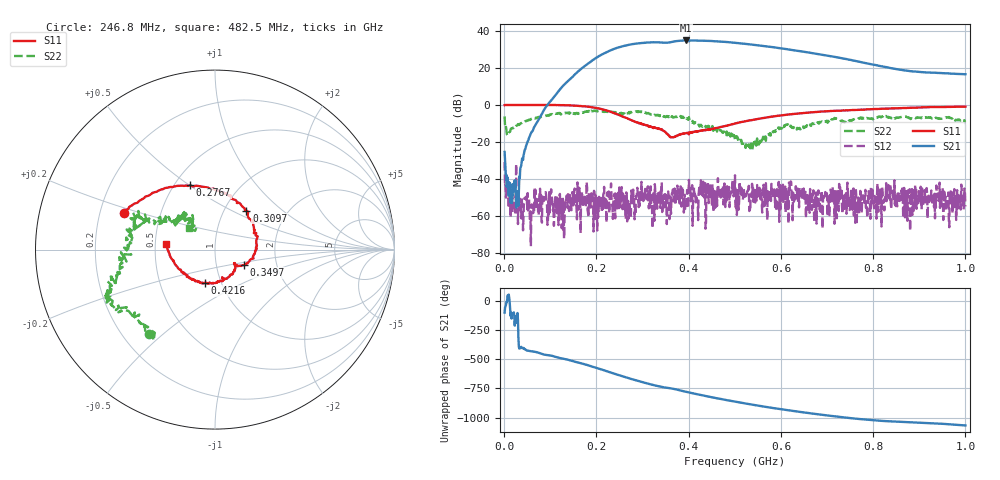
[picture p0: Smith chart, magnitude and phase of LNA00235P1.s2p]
! Created with skrf 1.9.0 (http://scikit-rf.org).
# Hz S RI R 50.0
!freq ReS11 ImS11 ReS21 ImS21 ReS12 ImS12 ReS22 ImS22
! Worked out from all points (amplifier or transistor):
!   1001 points, 1 MHz to 1 GHz, reference 50 ohm
!   highest |S21| = 34.9 dB at 394.6 MHz (marker M1)
!   |S21| within 3 dB of that: 259.7 MHz to 562.8 MHz (303.1 MHz wide, 73.7 % of centre)
!   unconditionally stable (mu >= 1): 3.564 MHz to 88.75 MHz; 232.2 MHz to 297.5 MHz; 298 MHz to end of sweep (the widest 3 of 24)
!   at 166.8 MHz: K = 0.50, MSG = 33.6 dB, |S12| = -47.8 dB
!   at 500.5 MHz: K = 1.06, MAG = 34.4 dB, |S12| = -38.1 dB
!   at 1 GHz: K = 7.16, MAG = 24.3 dB, |S12| = -55.0 dB
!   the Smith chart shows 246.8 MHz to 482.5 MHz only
!   S11 on the Smith chart (normalised r, x): 246.8 MHz: 0.30, +0.18; 276.7 MHz: 0.60, +0.50; 309.7 MHz: 1.27, +0.60; 349.7 MHz: 1.36, -0.24; 421.6 MHz: 0.84, -0.32; 482.5 MHz: 0.57, +0.04
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1000000  0.9848 0.00504  -0.0116 -0.0518  -0.0278 0.00631  0.3319 0.3577
1.08892e8  0.5132 -0.8499  -0.7933 -1.496  -0.000745 -0.000784  0.4157 -0.3874
1.67833e8  -0.2424 -0.8942  -9.69 -0.5453  -0.00297 -0.000842  0.0181 -0.6231
2.11789e8  -0.6869 -0.3359  -14.85 17.74  0.000485 -0.00117  -0.1978 -0.6507
2.46754e8  -0.5059 0.2058  3.001 35.63  -0.000351 -0.00177  -0.3678 -0.4699
2.76724e8  -0.1377 0.3584  28.83 32.93  -0.0019 0.00133  -0.5548 -0.3287
3.09691e8  0.1751 0.2173  47.83 10.47  -0.00319 0.00381  -0.5814 -0.1503
3.34666e8  0.2333 0.00515  48.36 -10.43  -0.00357 0.00209  -0.511 -0.0408
3.49651e8  0.1631 -0.0861  44.31 -19.57  -0.00332 0.00178  -0.4616 0.0302
3.72628e8  0.1158 -0.0862  41.28 -33.64  -0.00349 0.00328  -0.4486 0.1269
3.94606e8  0.0715 -0.1556  27.88 -48.19  -0.000126 0.00156  -0.4048 0.1701
4.21579e8  -0.0554 -0.1851  6.66 -54.6  0.00309 0.00218  -0.2405 0.1529
4.49551e8  -0.1866 -0.1255  -14.58 -51.54  0.00216 0.00543  -0.1734 0.168
4.82518e8  -0.2706 0.0294  -32.76 -38.13  -0.000295 0.0023  -0.146 0.1225
5.005e8  -0.2803 0.1425  -39.06 -28.39  0.0117 -0.00433  -0.1063 0.0388
5.39461e8  -0.2019 0.338  -42.09 -6.945  0.00565 -0.000405  -0.0793 0.000229
5.85415e8  -0.00461 0.4919  -34.11 12.26  0.00376 -0.0035  -0.1695 -0.0776
6.25375e8  0.1883 0.5348  -22.43 20.65  0.000662 0.000358  -0.2223 -0.1221
6.67333e8  0.3892 0.4945  -10.55 22.91  0.000359 -0.00139  -0.305 -0.0313
7.46254e8  0.6436 0.311  3.724 16.47  0.00151 0.00106  -0.3484 0.077
8.34166e8  0.7944 0.0461  6.766 7.617  -0.00262 -0.00166  -0.3942 0.2144
1e9  0.7403 -0.5102  6.616 1.495  -0.000936 -0.00152  -0.0781 0.3622
